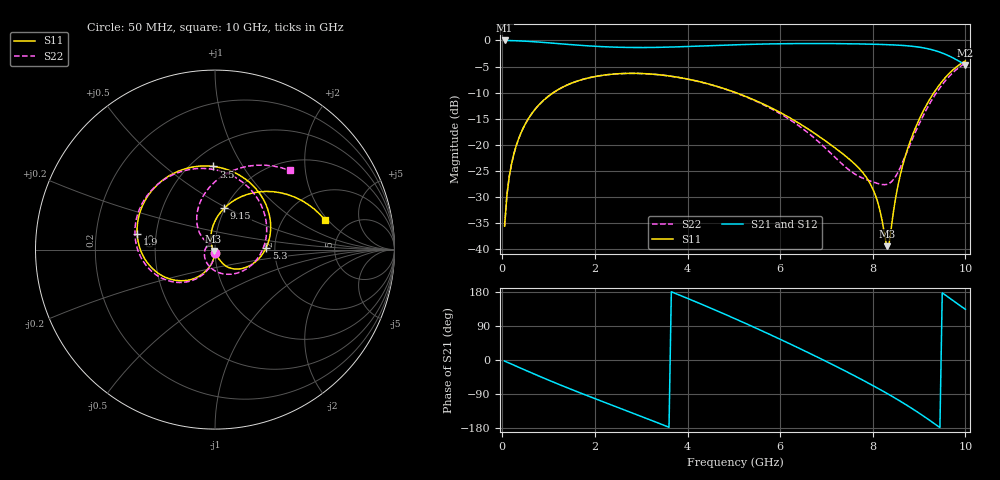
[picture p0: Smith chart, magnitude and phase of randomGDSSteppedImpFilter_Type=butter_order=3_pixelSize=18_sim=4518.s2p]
! freq	dB(S11)	phase(S11)	dB(S12)	phase(S12)
!  dB(S21)	phase(S21)	dB(S22)	phase(S22)
!S-par simulation data
#  GHz  S  DB  R 50
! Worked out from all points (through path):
!   200 points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, 50 MHz to 10 GHz, reference 50 ohm
!   highest |S21| = -0.01 dB at 50 MHz (marker M1); lowest = -4.7 dB at 10 GHz (marker M2)
!   group delay of S21, straight-line fit = 156 ps
!   lowest |S11| = -39.4 dB at 8.3 GHz (marker M3), VSWR 1.02, Z = 49.2 - j0.681 ohm
!   |S11| at or under -10 dB: start of sweep to 1.102 GHz; 5.043 GHz to 9.32 GHz (4.277 GHz wide, 59.5 % of centre)
!   |S22| runs from -35.6 to -4.3 dB; largest |S21 - S12| = 0
!   S11 on the Smith chart (normalised r, x): 50 MHz: 1.00, -0.03; 1.9 GHz: 0.39, +0.08; 3.5 GHz: 0.64, +0.75; 5.3 GHz: 1.80, +0.04; 9.15 GHz: 0.99, +0.49; 10 GHz: 3.41, +1.86
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0.05  -35.57 -92.7  -0.01 -2.8  -0.01 -2.8  -35.56 -92.6
0.2  -23.62 -101.5  -0.04 -10.9  -0.04 -10.9  -23.62 -100.9
0.5  -15.95 -118.4  -0.15 -27.1  -0.15 -27.1  -15.95 -116.8
1.1  -10.01 -150.7  -0.53 -58.2  -0.53 -58.2  -10.01 -147.0
1.75  -7.43 176.3  -0.98 -90.1  -0.98 -90.1  -7.43 -177.7
1.9  -7.10 168.9  -1.07 -97.2  -1.07 -97.2  -7.10 175.4
3.4  -6.58 96.0  -1.32 -167.8  -1.32 -167.8  -6.59 107.5
3.5  -6.68 91.1  -1.30 -172.7  -1.30 -172.7  -6.69 102.9
4.25  -7.88 53.6  -1.09 149.9  -1.09 149.9  -7.90 66.3
5.05  -10.02 14.1  -0.83 107.7  -0.83 107.7  -10.07 23.5
5.3  -10.88 2.3  -0.77 94.0  -0.77 94.0  -10.95 9.0
5.95  -13.55 -26.0  -0.64 57.6  -0.64 57.6  -13.77 -31.9
6.7  -17.52 -50.6  -0.59 13.9  -0.59 13.9  -18.40 -88.4
7.3  -21.35 -61.4  -0.62 -22.4  -0.62 -22.4  -23.36 -149.4
7.9  -26.75 -71.3  -0.70 -60.6  -0.70 -60.6  -26.77 138.6
8.1  -30.77 -82.2  -0.75 -73.9  -0.75 -73.9  -27.37 124.6
8.3  -39.39 -139.8  -0.80 -87.7  -0.80 -87.7  -27.57 123.1
8.35  -38.97 179.8  -0.82 -91.1  -0.82 -91.1  -27.41 124.9
8.65  -23.79 110.9  -0.96 -112.9  -0.96 -112.9  -23.21 137.4
9.15  -12.51 77.4  -1.52 -152.5  -1.52 -152.5  -13.36 118.1
9.5  -7.81 52.3  -2.41 177.3  -2.41 177.3  -8.46 90.2
10  -3.93 14.8  -4.68 133.8  -4.68 133.8  -4.34 46.7
